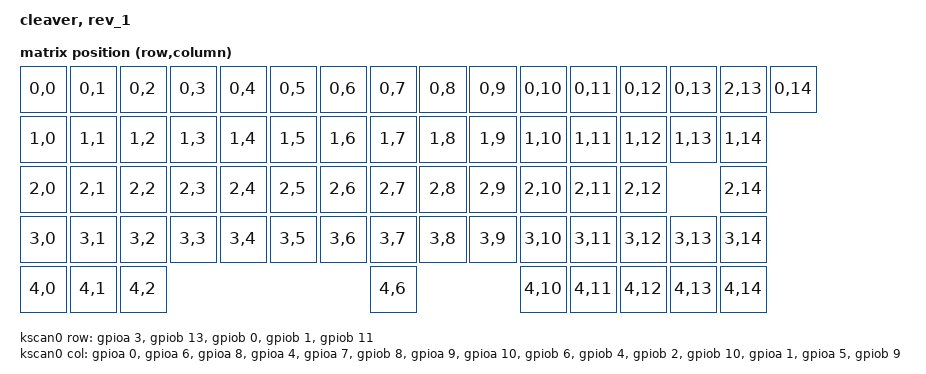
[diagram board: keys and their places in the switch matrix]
/*
 * Copyright (c) 2020 The ZMK Contributors
 *
 * SPDX-License-Identifier: MIT
 */

/dts-v1/;
#include <st/f4/stm32f411Xe.dtsi>
#include <st/f4/stm32f411c(c-e)ux-pinctrl.dtsi>
#include <dt-bindings/zmk/matrix_transform.h>
#include <dt-bindings/led/led.h>

/ {
	model = "cleaver, rev_1"; 
	compatible = "cleaver,rev_1";

	chosen {
		zephyr,console = &usart1;
		zephyr,shell-uart = &usart1;
		zephyr,sram = &sram0;
		zephyr,flash = &flash0;
		zmk,kscan = &kscan0;
		zmk,matrix_transform = &default_transform;
		zmk,underglow = &led_strip;
	};

	default_transform: keymap_transform_0 {
		compatible = "zmk,matrix-transform";
		columns = <15>;
		rows = <5>;
		map = <
			RC(0,0)	RC(0,1)	RC(0,2)	RC(0,3)	RC(0,4)	RC(0,5)	RC(0,6)	RC(0,7)	RC(0,8)	RC(0,9)	RC(0,10) RC(0,11) RC(0,12) RC(0,13) RC(2,13) RC(0,14)
			RC(1,0)	RC(1,1)	RC(1,2)	RC(1,3)	RC(1,4)	RC(1,5)	RC(1,6)	RC(1,7)	RC(1,8)	RC(1,9)	RC(1,10) RC(1,11) RC(1,12) RC(1,13) RC(1,14)
			RC(2,0)	RC(2,1)	RC(2,2)	RC(2,3)	RC(2,4)	RC(2,5)	RC(2,6)	RC(2,7)	RC(2,8)	RC(2,9)	RC(2,10) RC(2,11) RC(2,12)          RC(2,14)
			RC(3,0)	RC(3,1)	RC(3,2)	RC(3,3)	RC(3,4)	RC(3,5)	RC(3,6)	RC(3,7)	RC(3,8)	RC(3,9)	RC(3,10) RC(3,11) RC(3,12) RC(3,13) RC(3,14)
			RC(4,0)	RC(4,1) RC(4,2)		                         	RC(4,6)	                RC(4,10) RC(4,11) RC(4,12) RC(4,13) RC(4,14)
			>;
	};

 
	kscan0: kscan {
		compatible = "zmk,kscan-gpio-matrix";
		diode-direction = "col2row";
		row-gpios
			= <&gpioa 3 (GPIO_ACTIVE_HIGH | GPIO_PULL_DOWN)>
			, <&gpiob 13 (GPIO_ACTIVE_HIGH | GPIO_PULL_DOWN)>
			, <&gpiob 0 (GPIO_ACTIVE_HIGH | GPIO_PULL_DOWN)>
			, <&gpiob 1 (GPIO_ACTIVE_HIGH | GPIO_PULL_DOWN)>
			, <&gpiob 11 (GPIO_ACTIVE_HIGH | GPIO_PULL_DOWN)>
			;
		col-gpios
			= <&gpioa 0 GPIO_ACTIVE_HIGH>
			, <&gpioa 6 GPIO_ACTIVE_HIGH>
			, <&gpioa 8 GPIO_ACTIVE_HIGH>
			, <&gpioa 4 GPIO_ACTIVE_HIGH>
			, <&gpioa 7 GPIO_ACTIVE_HIGH>
			, <&gpiob 8 GPIO_ACTIVE_HIGH>
			, <&gpioa 9 GPIO_ACTIVE_HIGH>
			, <&gpioa 10 GPIO_ACTIVE_HIGH>
			, <&gpiob 6 GPIO_ACTIVE_HIGH>
			, <&gpiob 4 GPIO_ACTIVE_HIGH>
			, <&gpiob 2 GPIO_ACTIVE_HIGH>
			, <&gpiob 10 GPIO_ACTIVE_HIGH>
			, <&gpioa 1 GPIO_ACTIVE_HIGH>
			, <&gpioa 5 GPIO_ACTIVE_HIGH>
			, <&gpiob 9 GPIO_ACTIVE_HIGH>
			;
	};
};

&gpioa {
	status = "okay";
};

&gpiob {
	status = "okay";
};

/* USB configuration */
zephyr_udc0: &usbotg_fs {
    status = "okay";
    pinctrl-0 = <&usb_otg_fs_dm_pa11 &usb_otg_fs_dp_pa12>;
    pinctrl-names = "default";
    num-bidir-endpoints = <6>;
    
    cdc_acm_uart0: cdc_acm_uart0 {
        compatible = "zephyr,cdc-acm-uart";
        label = "CDC_ACM_0";
    };
};

/* Clock configuration for 8MHz external oscillator */
&clk_hse {
    status = "okay";
    clock-frequency = <DT_FREQ_M(8)>;  /* 8MHz external oscillator */
};

&pll {
    status = "okay";
    div-m = <4>;
    mul-n = <72>;
    div-p = <2>;
    div-q = <3>;
    clocks = <&clk_hse>;
};

&rcc {
    clocks = <&pll>;
    clock-frequency = <DT_FREQ_M(72)>;
    ahb-prescaler = <1>;
    apb1-prescaler = <2>;
    apb2-prescaler = <1>;
};

&rtc {
    status = "okay";
};

&flash0 {
	partitions {
		compatible = "fixed-partitions";
		#address-cells = <1>;
		#size-cells = <1>;

		boot_partition: partition@0 {
			label = "mcuboot";
			reg = <0x00000000 DT_SIZE_K(32)>;
			read-only;
		};

		/*
		 * The flash starting at offset 0x00008000 and ending at
		 * offset 0x0001ffff (sectors 2 through 4) is reserved for
		 * use by the application.
		 */

		slot0_partition: partition@20000 {
			label = "image-0";
			reg = <0x00020000 DT_SIZE_K(128)>;
		};
		slot1_partition: partition@40000 {
			label = "image-1";
			reg = <0x00040000 DT_SIZE_K(128)>;
		};
		scratch_partition: partition@60000 {
			label = "image-scratch";
			reg = <0x00060000 DT_SIZE_K(128)>;
		};

		storage_partition: partition@80000 {
			label = "storage";
			reg = <0x00080000 DT_SIZE_K(64)>;
		};
	};
};

&timers4 {
	status = "okay";
	pwm4: pwm {
		status = "okay";
		pinctrl-0 = <&tim4_ch1_pb6 &tim4_ch2_pb7>;
		pinctrl-names = "default";
	};
};

&usart1 {
	pinctrl-0 = <&usart1_tx_pa9 &usart1_rx_pa10>;
	pinctrl-names = "default";
	status = "okay";
	current-speed = <115200>;
};

&i2c1 {
	pinctrl-0 = <&i2c1_scl_pb8 &i2c1_sda_pb9>;
	pinctrl-names = "default";
	status = "okay";
	clock-frequency = <I2C_BITRATE_FAST>;
};

&spi1 {
    status = "okay";
    pinctrl-0 = <&spi1_sck_pa5 &spi1_miso_pa6 &spi1_mosi_pa7>;
    pinctrl-names = "default";
    
    led_strip: ws2812@0 {
        compatible = "worldsemi,ws2812-spi";
        reg = <0>;
        spi-max-frequency = <4000000>;
        chain-length = <1>; /* single LED for testing */
        spi-one-frame = <0x70>;
        spi-zero-frame = <0x40>;
        color-mapping = <LED_COLOR_ID_GREEN
                        LED_COLOR_ID_RED
                        LED_COLOR_ID_BLUE>;
        status = "okay";
    };
};

